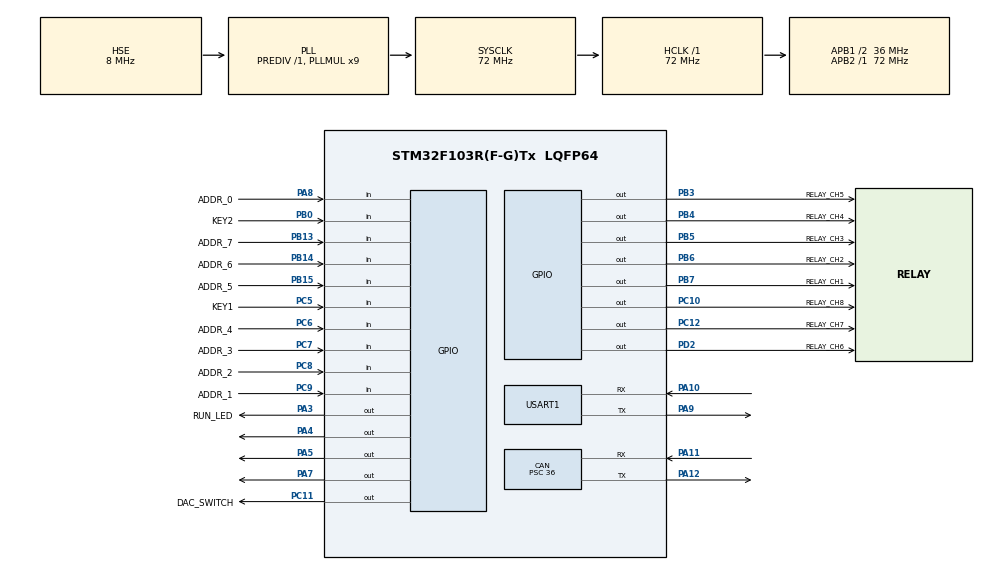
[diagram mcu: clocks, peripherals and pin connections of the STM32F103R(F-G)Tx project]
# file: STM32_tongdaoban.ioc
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CAN.BS1=CAN_BS1_4TQ
CAN.BS2=CAN_BS2_5TQ
CAN.CalculateTimeBit=10000
CAN.CalculateTimeQuantum=1000.0
CAN.Prescaler=36
Dma.Request0=USART1_TX
Dma.USART1_TX.0.Direction=DMA_MEMORY_TO_PERIPH
Dma.USART1_TX.0.Instance=DMA1_Channel4
Dma.USART1_TX.0.MemDataAlignment=DMA_MDATAALIGN_BYTE
Dma.USART1_TX.0.MemInc=DMA_MINC_ENABLE
Dma.USART1_TX.0.Mode=DMA_NORMAL
Dma.USART1_TX.0.PeriphDataAlignment=DMA_PDATAALIGN_BYTE
Dma.USART1_TX.0.PeriphInc=DMA_PINC_DISABLE
Dma.USART1_TX.0.Priority=DMA_PRIORITY_LOW
IWDG.Prescaler=IWDG_PRESCALER_32
IWDG.Reload=4000
Mcu.Family=STM32F1
Mcu.Name=STM32F103R(F-G)Tx
Mcu.Package=LQFP64
NVIC.DMA1_Channel4_IRQn=true\:0\:0\:false\:false\:true\:false
NVIC.PriorityGroup=NVIC_PRIORITYGROUP_4
NVIC.TIM3_IRQn=true\:3\:0\:true\:false\:true\:true
NVIC.USART1_IRQn=true\:0\:0\:true\:false\:true\:true
NVIC.USB_LP_CAN1_RX0_IRQn=true\:1\:0\:true\:false\:true\:true
PA10.Mode=Asynchronous
PA10.Signal=USART1_RX
PA11.Mode=Master
PA11.Signal=CAN_RX
PA12.Mode=Master
PA12.Signal=CAN_TX
PA13.Mode=Serial_Wire
PA13.Signal=SYS_JTMS-SWDIO
PA14.Mode=Serial_Wire
PA14.Signal=SYS_JTCK-SWCLK
PA3.GPIO_Label=RUN_LED
PA3.Signal=GPIO_Output
PA4.Signal=GPIO_Output
PA5.Signal=GPIO_Output
PA7.Signal=GPIO_Output
PA8.GPIO_Label=ADDR_0
PA8.GPIO_PuPd=GPIO_PULLUP
PA8.Signal=GPIO_Input
PA9.Mode=Asynchronous
PA9.Signal=USART1_TX
PB0.GPIO_Label=KEY2
PB0.GPIO_PuPd=GPIO_PULLUP
PB0.Signal=GPIO_Input
PB13.GPIO_Label=ADDR_7
PB13.GPIO_PuPd=GPIO_PULLUP
PB13.Signal=GPIO_Input
PB14.GPIO_Label=ADDR_6
PB14.GPIO_PuPd=GPIO_PULLUP
PB14.Signal=GPIO_Input
PB15.GPIO_Label=ADDR_5
PB15.GPIO_PuPd=GPIO_PULLUP
PB15.Signal=GPIO_Input
PB3.GPIO_Label=RELAY_CH5
PB3.Signal=GPIO_Output
PB4.GPIO_Label=RELAY_CH4
PB4.Signal=GPIO_Output
PB5.GPIO_Label=RELAY_CH3
PB5.Signal=GPIO_Output
PB6.GPIO_Label=RELAY_CH2
PB6.Signal=GPIO_Output
PB7.GPIO_Label=RELAY_CH1
PB7.Signal=GPIO_Output
PC10.GPIO_Label=RELAY_CH8
PC10.Signal=GPIO_Output
PC11.GPIO_Label=DAC_SWITCH
PC11.Signal=GPIO_Output
PC12.GPIO_Label=RELAY_CH7
PC12.Signal=GPIO_Output
PC5.GPIO_Label=KEY1
PC5.GPIO_PuPd=GPIO_NOPULL
PC5.Signal=GPIO_Input
PC6.GPIO_Label=ADDR_4
PC6.GPIO_PuPd=GPIO_PULLUP
PC6.Signal=GPIO_Input
PC7.GPIO_Label=ADDR_3
PC7.GPIO_PuPd=GPIO_PULLUP
PC7.Signal=GPIO_Input
PC8.GPIO_Label=ADDR_2
PC8.GPIO_PuPd=GPIO_PULLUP
PC8.Signal=GPIO_Input
PC9.GPIO_Label=ADDR_1
PC9.GPIO_PuPd=GPIO_PULLUP
PC9.Signal=GPIO_Input
PD0-OSC_IN.Mode=HSE-External-Oscillator
PD0-OSC_IN.Signal=RCC_OSC_IN
PD1-OSC_OUT.Mode=HSE-External-Oscillator
PD1-OSC_OUT.Signal=RCC_OSC_OUT
PD2.GPIO_Label=RELAY_CH6
PD2.Signal=GPIO_Output
ProjectManager.HeapSize=0x200
ProjectManager.StackSize=0x400
ProjectManager.TargetToolchain=MDK-ARM V5
RCC.AHBFreq_Value=72000000
RCC.APB1CLKDivider=RCC_HCLK_DIV2
RCC.APB1Freq_Value=36000000
RCC.APB1TimFreq_Value=72000000
RCC.APB2Freq_Value=72000000
RCC.APB2TimFreq_Value=72000000
RCC.HCLKFreq_Value=72000000
RCC.PLLMUL=RCC_PLL_MUL9
RCC.PLLSourceVirtual=RCC_PLLSOURCE_HSE
RCC.SYSCLKFreq_VALUE=72000000
RCC.SYSCLKSource=RCC_SYSCLKSOURCE_PLLCLK
RCC.USBFreq_Value=72000000
TIM3.Period=1000
TIM3.Prescaler=44
USART1.VirtualMode=VM_ASYNC
VP_IWDG_VS_IWDG.Mode=IWDG_Activate
VP_TIM3_VS_ClockSourceINT.Mode=Internal
board=STM32_tongdaoban

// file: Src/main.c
/**
  ******************************************************************************
  * File Name          : main.c
  * Description        : Main program body
  ******************************************************************************
  ** This notice applies to any and all portions of this file
  * that are not between comment pairs USER CODE BEGIN and
  * USER CODE END. Other portions of this file, whether
  * inserted by the user or by software development tools
  * are owned by their respective copyright owners.
  *
  * COPYRIGHT(c) 2018 STMicroelectronics
  *
  * Redistribution and use in source and binary forms, with or without modification,
  * are permitted provided that the following conditions are met:
  *   1. Redistributions of source code must retain the above copyright notice,
  *      this list of conditions and the following disclaimer.
  *   2. Redistributions in binary form must reproduce the above copyright notice,
  *      this list of conditions and the following disclaimer in the documentation
  *      and/or other materials provided with the distribution.
  *   3. Neither the name of STMicroelectronics nor the names of its contributors
  *      may be used to endorse or promote products derived from this software
  *      without specific prior written permission.
  *
  * THIS SOFTWARE IS PROVIDED BY THE COPYRIGHT HOLDERS AND CONTRIBUTORS "AS IS"
  * AND ANY EXPRESS OR IMPLIED WARRANTIES, INCLUDING, BUT NOT LIMITED TO, THE
  * IMPLIED WARRANTIES OF MERCHANTABILITY AND FITNESS FOR A PARTICULAR PURPOSE ARE
  * DISCLAIMED. IN NO EVENT SHALL THE COPYRIGHT HOLDER OR CONTRIBUTORS BE LIABLE
  * FOR ANY DIRECT, INDIRECT, INCIDENTAL, SPECIAL, EXEMPLARY, OR CONSEQUENTIAL
  * DAMAGES (INCLUDING, BUT NOT LIMITED TO, PROCUREMENT OF SUBSTITUTE GOODS OR
  * SERVICES; LOSS OF USE, DATA, OR PROFITS; OR BUSINESS INTERRUPTION) HOWEVER
  * CAUSED AND ON ANY THEORY OF LIABILITY, WHETHER IN CONTRACT, STRICT LIABILITY,
  * OR TORT (INCLUDING NEGLIGENCE OR OTHERWISE) ARISING IN ANY WAY OUT OF THE USE
  * OF THIS SOFTWARE, EVEN IF ADVISED OF THE POSSIBILITY OF SUCH DAMAGE.
  *
  ******************************************************************************
  */

#include "main.h"
#include "stm32f1xx_hal.h"
#include "can.h"
#include "dma.h"
#include "iwdg.h"
#include "tim.h"
#include "usart.h"
#include "gpio.h"

/* USER CODE BEGIN Includes */
#include "bsp_uart.h"
#include "bsp_led.h"
//#include "bsp_dac.h"
#include "bsp_dac_gpio.h"
#include "bsp_channel.h"
#include "bsp_can.h"
#include "bsp_event.h"
#include "bsp_usart_protocol.h"
/* USER CODE END Includes */

/* USER CODE BEGIN PV */
/* Private variables ---------------------------------------------------------*/
RelayReg_Typedef relay;
uint8_t Canbuf[]="1234567890abcdef";

/* USER CODE END PV */

void SystemClock_Config(void);

/* USER CODE BEGIN PFP */
/* Private function prototypes -----------------------------------------------*/

/* USER CODE END PFP */

int main(void)
{

  /* USER CODE BEGIN 1 */
	uint16_t adc_counter=0;
	uint8_t usart_cmdbuf[64];
	uint8_t usart_cmdbuflen=0;

  /* USER CODE END 1 */

  /* MCU Configuration----------------------------------------------------------*/

  /* Reset of all peripherals, Initializes the Flash interface and the Systick. */
  HAL_Init();

  /* Configure the system clock */
  SystemClock_Config();

  /* Initialize all configured peripherals */
  MX_GPIO_Init();
  MX_DMA_Init();
  MX_CAN_Init();
  MX_TIM3_Init();
  MX_USART1_UART_Init();
 // MX_IWDG_Init();

  /* USER CODE BEGIN 2 */
	Uart_Receive_Start(&huart1);

	Event_Init(&Event_obj);  //初始化事件管理器
	CanInit(&Bsp_Can_obj,&hcan);//初始化CAN

	//HAL_GPIO_WritePin(GPIOC,DAC_SWITCH_Pin,GPIO_PIN_SET);//切换DAC通道
	HAL_TIM_Base_Start_IT(&htim3);//使能定时器3
	HAL_Delay(400);
	Dac_Init();//初始化DAC
	HAL_Delay(400);

	Dac_Init();
	Dac_SendWord(10000);

	DAC_SWITCH(DAC_INTER_TYPE);
	Channel_Config(&Relay_obj,RELAY_CH_ALL,0xff);//打开所有通道切换继电器
  /* USER CODE END 2 */

  /* Infinite loop */
  while (1)
  {

  /* USER CODE BEGIN 3 */
		if(USART_PROTOCOL_SUCCESS==UsartProtocol_PickFrame(&UsartProtocol,usart_cmdbuf,&usart_cmdbuflen)){
			switch(usart_cmdbuf[2]){
				case 0x01://切换信号源
					if(usart_cmdbuf[3]==0x00){
						DAC_SWITCH(DAC_EXTER_TYPE);
					}else{
						DAC_SWITCH(DAC_INTER_TYPE);
					}
					break;
				case 0x02://切换通道开关
					Channel_Config(&Relay_obj,RELAY_CH_ALL,usart_cmdbuf[3]);//打开所有通道切换继电器
			}
		}
		Can_Server();
		//HAL_IWDG_Refresh(&hiwdg);

		//Can_Send(&Bsp_Can_obj,0x0001,Canbuf,8);
		//HAL_Delay(1000);
		//Dac_SendWord(adc_counter);

		//adc_counter+=1;
		//HAL_Delay(10);
  }
  /* USER CODE END 3 */

}

/** System Clock Configuration
*/
void SystemClock_Config(void)
{

  RCC_OscInitTypeDef RCC_OscInitStruct;
  RCC_ClkInitTypeDef RCC_ClkInitStruct;

    /**Initializes the CPU, AHB and APB busses clocks
    */
  RCC_OscInitStruct.OscillatorType = RCC_OSCILLATORTYPE_LSI|RCC_OSCILLATORTYPE_HSE;
  RCC_OscInitStruct.HSEState = RCC_HSE_ON;
  RCC_OscInitStruct.HSEPredivValue = RCC_HSE_PREDIV_DIV1;
  RCC_OscInitStruct.HSIState = RCC_HSI_ON;
  RCC_OscInitStruct.LSIState = RCC_LSI_ON;
  RCC_OscInitStruct.PLL.PLLState = RCC_PLL_ON;
  RCC_OscInitStruct.PLL.PLLSource = RCC_PLLSOURCE_HSE;
  RCC_OscInitStruct.PLL.PLLMUL = RCC_PLL_MUL9;
  if (HAL_RCC_OscConfig(&RCC_OscInitStruct) != HAL_OK)
  {
    _Error_Handler(__FILE__, __LINE__);
  }

    /**Initializes the CPU, AHB and APB busses clocks
    */
  RCC_ClkInitStruct.ClockType = RCC_CLOCKTYPE_HCLK|RCC_CLOCKTYPE_SYSCLK
                              |RCC_CLOCKTYPE_PCLK1|RCC_CLOCKTYPE_PCLK2;
  RCC_ClkInitStruct.SYSCLKSource = RCC_SYSCLKSOURCE_PLLCLK;
  RCC_ClkInitStruct.AHBCLKDivider = RCC_SYSCLK_DIV1;
  RCC_ClkInitStruct.APB1CLKDivider = RCC_HCLK_DIV2;
  RCC_ClkInitStruct.APB2CLKDivider = RCC_HCLK_DIV1;

  if (HAL_RCC_ClockConfig(&RCC_ClkInitStruct, FLASH_LATENCY_2) != HAL_OK)
  {
    _Error_Handler(__FILE__, __LINE__);
  }

    /**Configure the Systick interrupt time
    */
  HAL_SYSTICK_Config(HAL_RCC_GetHCLKFreq()/1000);

    /**Configure the Systick
    */
  HAL_SYSTICK_CLKSourceConfig(SYSTICK_CLKSOURCE_HCLK);

  /* SysTick_IRQn interrupt configuration */
  HAL_NVIC_SetPriority(SysTick_IRQn, 0, 0);
}

void _Error_Handler(char * file, int line)
{
  while(1)
  {
  }
}

/************************ (C) COPYRIGHT STMicroelectronics *****END OF FILE****/
